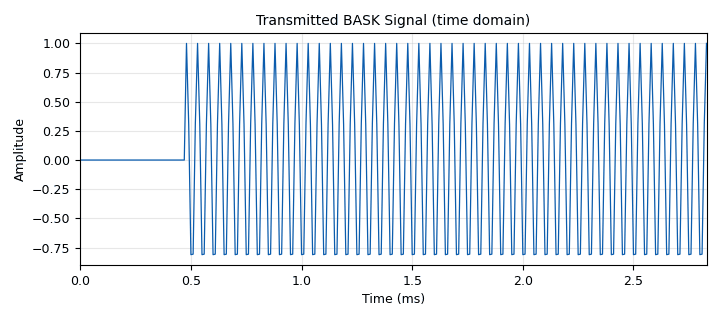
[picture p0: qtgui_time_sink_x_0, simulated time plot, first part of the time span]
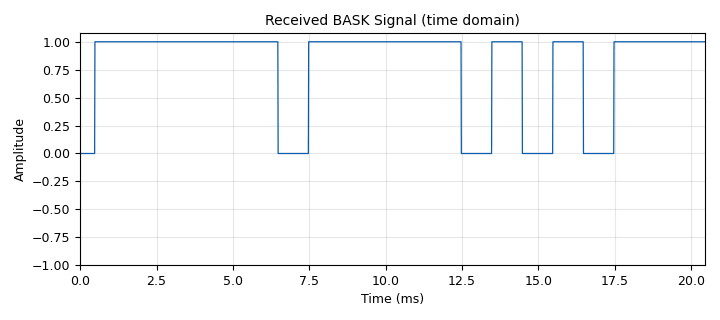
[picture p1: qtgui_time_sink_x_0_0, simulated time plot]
options:
  parameters:
    generate_options: qt_gui
    id: binary_ask_morse_code
    output_language: python
    title: Not titled yet
  states: {}

blocks:
- name: samp_rate
  id: variable
  parameters:
    comment: Signal sample rate
    value: '100000'
  states: {}
- name: signal_freq
  id: variable_qtgui_range
  parameters:
    comment: Variable carrier signal frequency
    start: '-100000'
    step: '1'
    stop: '100000'
    value: '20000'
  states: {}
- name: analog_random_source_x_0
  id: analog_random_source_x
  parameters:
    comment: Random sequence binary generator
    max: '2'
    min: '0'
    num_samps: '100000'
    repeat: 'True'
    type: byte
  states: {}
- name: analog_sig_source_x_0
  id: analog_sig_source_x
  parameters:
    amp: '1'
    comment: |-
      Carrier wave with variable frequency
      initially set to 20 kHz
    freq: signal_freq
    offset: '0'
    phase: '0'
    samp_rate: samp_rate
    type: complex
    waveform: analog.GR_COS_WAVE
  states: {}
- name: blocks_char_to_float_0
  id: blocks_char_to_float
  parameters:
    scale: '1'
  states: {}
- name: blocks_complex_to_mag_0
  id: blocks_complex_to_mag
  parameters:
    comment: Envelope detection
  states: {}
- name: blocks_complex_to_real_0
  id: blocks_complex_to_real
  parameters: {}
  states: {}
- name: blocks_float_to_complex_1
  id: blocks_float_to_complex
  parameters: {}
  states: {}
- name: blocks_head_0_1
  id: blocks_head
  parameters:
    comment: |-
      Limits the number of samples
      to avoid overflow
    num_items: '2048'
    type: float
  states: {}
- name: blocks_head_0_1_0
  id: blocks_head
  parameters:
    comment: |-
      Limits the number of samples 
      to avoid overflow
    num_items: '2048'
    type: float
  states: {}
- name: blocks_multiply_xx_0
  id: blocks_multiply_xx
  parameters:
    comment: |-
      Modulating binary data stream 
      with a carrier wave at 1 kHz
    type: complex
  states: {}
- name: blocks_repeat_0
  id: blocks_repeat
  parameters:
    comment: |-
      Extends the pulse duration 
      through interpolation from
      a randomly generated
      sequence of binary "1"
      and "0" values
    interp: '100'
    type: byte
  states: {}
- name: blocks_threshold_ff_0
  id: blocks_threshold_ff
  parameters:
    comment: |-
      Threshold values to assign the 
      received input as a binary "1" or "0"
    high: '0.11'
    init: '0'
    low: '0.1'
  states: {}
- name: epy_block_0_0_0
  id: epy_block
  parameters:
    _source_code: |-
      # Morse Code Generator and Decoder
      # Embedded Python Block (gr.sync_block)

      import numpy as np
      from gnuradio import gr

      class blk(gr.sync_block):
          def __init__(self):
              gr.sync_block.__init__(
                  self,
                  name='Morse Generator and Decoder',
                  in_sig=[np.float32],
                  out_sig=[]
              )
      	# Morse code output
              self.morse_output = ''

      	# Morse code translation
              self.letter = ''
              self.morse_phrase = ''

      	# Morse code dictionary
              self.morse_code = {
                  '.-': 'A', '-...': 'B', '-.-.': 'C', '-..': 'D', '.': 'E',
                  '..-.': 'F', '--.': 'G', '....': 'H', '..': 'I', '.---': 'J',
                  '-.-': 'K', '.-..': 'L', '--': 'M', '-.': 'N', '---': 'O',
                  '.--.': 'P', '--.-': 'Q', '.-.': 'R', '...': 'S', '-': 'T',
                  '..-': 'U', '...-': 'V', '.--': 'W', '-..-': 'X', '-.--': 'Y',
                  '--..': 'Z','-----': '0', '.----': '1', '..---': '2', '...--': '3',
                  '....-': '4', '.....': '5', '-....': '6', '--...': '7',
                  '---..': '8', '----.': '9'
              }

              self.last_bit = None # Store previous bit for comparison
              self.counter = 0 # Tracks bit duration
              self.samp_rate = 100000 # Signal sample rate
              self.samples_per_ms = self.samp_rate / 1000 # Convert sample rate from seconds to miliseconds


          def decode(self, code):
              if code != '':
                  letter = self.morse_code.get(code, '?') # '?' if not in Morse code dictionary
                  self.morse_phrase = self.morse_phrase + f"{code} " # Appending Morse code 
                  self.letter = self.letter + letter

          def work(self, input_items, output_items):
      	# Threshold to determine binary "1" for input values > 0.1V

              bits = (input_items[0] > 0.1).astype(np.int8)

      	# Threshold and duration conditions for all bits
              for i in bits:

      	    # Initialization for first sample
                  if self.last_bit is None:
                      self.last_bit = i # Store for comparison
                      self.counter = 1 # Initialize duration of bit

                  elif i == self.last_bit:
      		# Increment counter if current bit is the same as previous

                      self.counter = self.counter + 1
      		# Changed bit, determine duration period in miliseconds
                  else:
                      duration = self.counter / self.samples_per_ms
      		
      		# Morse code characterization from duration
                      if self.last_bit == 1:
                          if duration <= 1:
                              self.morse_output = self.morse_output + '.'
                          elif duration > 1:
                              self.morse_output = self.morse_output + '-'
      		
      		# Previous bit is 0, threshold conditions
                      else:
                          if 1 < duration <= 2:
                              self.decode(self.morse_output)
                              self.morse_output = ''
                          elif 2 < duration <= 3:
                              self.decode(self.morse_output)
                              self.morse_output = ''
                              self.letter = self.letter + ' '
                              self.morse_phrase = self.morse_phrase + '  '
                          
      		# Other shorter or longer pauses do nothing

                      self.last_bit = i
                      self.counter = 1

              return len(input_items[0])

          def stop(self):
      	# Output information at the end of run

              self.decode(self.morse_output)
              if self.letter or self.morse_phrase != '':
      	    
      	    # Decoded message in Morse code and ASCII letters
                  print("Transmitted Morse:  ", self.morse_phrase)
                  print("Transmitted Phrase:  ", self.letter)
              return True
    comment: |-
      Converts the randomly generated binary sequence 
      to a morse code sequence then translates the morse 
      code sequence into ASCII letters
  states: {}
- name: epy_block_0_0_0_0
  id: epy_block
  parameters:
    _source_code: |-
      # Morse Code Receiver and Decoder
      # Embedded Python Block (gr.sync_block)

      import numpy as np
      from gnuradio import gr
      import time as t

      class blk(gr.sync_block):
          def __init__(self):
      	# Initialize block and parameters

              gr.sync_block.__init__(
                  self,
                  name='Morse Receiver and Decoder',
                  in_sig=[np.float32],
                  out_sig=[]
              )

              # Morse code output 
              self.morse_output = ''

      	# Morse code translation
              self.morse_phrase = ''
              self.letter = ''

      	# Morse code dictionary
              self.morse_code = {
                  '.-': 'A', '-...': 'B', '-.-.': 'C', '-..': 'D', '.': 'E',
                  '..-.': 'F', '--.': 'G', '....': 'H', '..': 'I', '.---': 'J',
                  '-.-': 'K', '.-..': 'L', '--': 'M', '-.': 'N', '---': 'O',
                  '.--.': 'P', '--.-': 'Q', '.-.': 'R', '...': 'S', '-': 'T',
                  '..-': 'U', '...-': 'V', '.--': 'W', '-..-': 'X', '-.--': 'Y',
                  '--..': 'Z','-----': '0', '.----': '1', '..---': '2', '...--': '3',
                  '....-': '4', '.....': '5', '-....': '6', '--...': '7',
                  '---..': '8', '----.': '9'
              }

              self.last_bit = None # Store previous bit for comparison
              self.counter = 0 # Tracks bit duration
              self.samp_rate = 100000 # Signal sample rate
              self.samples_per_ms = self.samp_rate // 1000 # Convert sample rate from seconds to miliseconds


          def decode_morse(self, code):
              if code != '':
                  letter = self.morse_code.get(code, '?') # '?' if not in Morse code dictionary
                  self.morse_phrase = self.morse_phrase + f"{code} " # Appending Morse code
                  self.letter = self.letter + letter

          def work(self, input_items, output_items):
      	# Threshold to determine binary "1" for input values > 0.1V

              bits = (input_items[0] > 0.1).astype(np.int8)

      	# Threshold and duration conditions for all bits
              for i in bits:
                  
                  # Initialization for first sample
                  if self.last_bit is None:
                      self.last_bit = i # Store for comparison
                      self.counter = 1 # Initialize duration of bit

                  elif i == self.last_bit:
      		# Increment counter if current bit is the same as previous

                      self.counter = self.counter + 1
      		# Changed bit, determine duration period in miliseconds
                  else:
                      duration = self.counter / self.samples_per_ms
      		
      		# Morse code characterization from duration 
                      if self.last_bit == 1:
                          if duration <= 1:
                              self.morse_output = self.morse_output + '.'
                          elif duration > 1:
                              self.morse_output = self.morse_output + '-'
      		
                      else:
                          if 1 < duration <= 2:
                              self.decode_morse(self.morse_output)
                              self.morse_output = ''
                          elif 2 < duration <= 3:
                              self.decode_morse(self.morse_output)
                              self.morse_output = ''
                              self.letter = self.letter + ' '
                              self.morse_phrase = self.morse_phrase + '  '
                          
      		# Other shorter or longer pauses do nothing

                      self.last_bit = i
                      self.counter = 1

              return len(input_items[0])

          def stop(self):
      	# Output information at the end of run

              self.decode_morse(self.morse_output)
              if self.letter or self.morse_phrase != '':

                  # Delaying receiver output from transmission
                  t.sleep(0.1) 
                  
                  # Decoded message in Morse code and ASCII letters
                  print("Received Morse:  ", self.morse_phrase)
                  print("Received Phrase:  ", self.letter)
              return True
    comment: |-
      Converts the received binary sequence to a morse 
      code sequence then translates the morse code 
      sequence into ASCII letters.
  states: {}
- name: qtgui_time_sink_x_0
  id: qtgui_time_sink_x
  parameters:
    autoscale: 'True'
    entags: 'False'
    name: '"Transmitted BASK Signal (time domain)"'
    size: '2048'
    srate: samp_rate
    type: float
  states: {}
- name: qtgui_time_sink_x_0_0
  id: qtgui_time_sink_x
  parameters:
    name: '"Received BASK Signal (time domain)"'
    size: '2048'
    srate: samp_rate
    type: float
  states: {}
- name: virtual_sink_0
  id: virtual_sink
  parameters:
    comment: Transmitted signal
    stream_id: '1'
  states: {}
- name: virtual_source_1
  id: virtual_source
  parameters:
    comment: Received Signal
    stream_id: '1'
  states: {}

connections:
- [analog_random_source_x_0, '0', blocks_repeat_0, '0']
- [analog_sig_source_x_0, '0', blocks_multiply_xx_0, '1']
- [blocks_char_to_float_0, '0', blocks_float_to_complex_1, '0']
- [blocks_char_to_float_0, '0', blocks_head_0_1, '0']
- [blocks_complex_to_mag_0, '0', blocks_threshold_ff_0, '0']
- [blocks_complex_to_real_0, '0', qtgui_time_sink_x_0, '0']
- [blocks_float_to_complex_1, '0', blocks_multiply_xx_0, '0']
- [blocks_head_0_1, '0', epy_block_0_0_0, '0']
- [blocks_head_0_1_0, '0', epy_block_0_0_0_0, '0']
- [blocks_multiply_xx_0, '0', blocks_complex_to_real_0, '0']
- [blocks_multiply_xx_0, '0', virtual_sink_0, '0']
- [blocks_repeat_0, '0', blocks_char_to_float_0, '0']
- [blocks_threshold_ff_0, '0', blocks_head_0_1_0, '0']
- [blocks_threshold_ff_0, '0', qtgui_time_sink_x_0_0, '0']
- [virtual_source_1, '0', blocks_complex_to_mag_0, '0']

metadata:
  file_format: 1
  grc_version: 3.10.12.0
